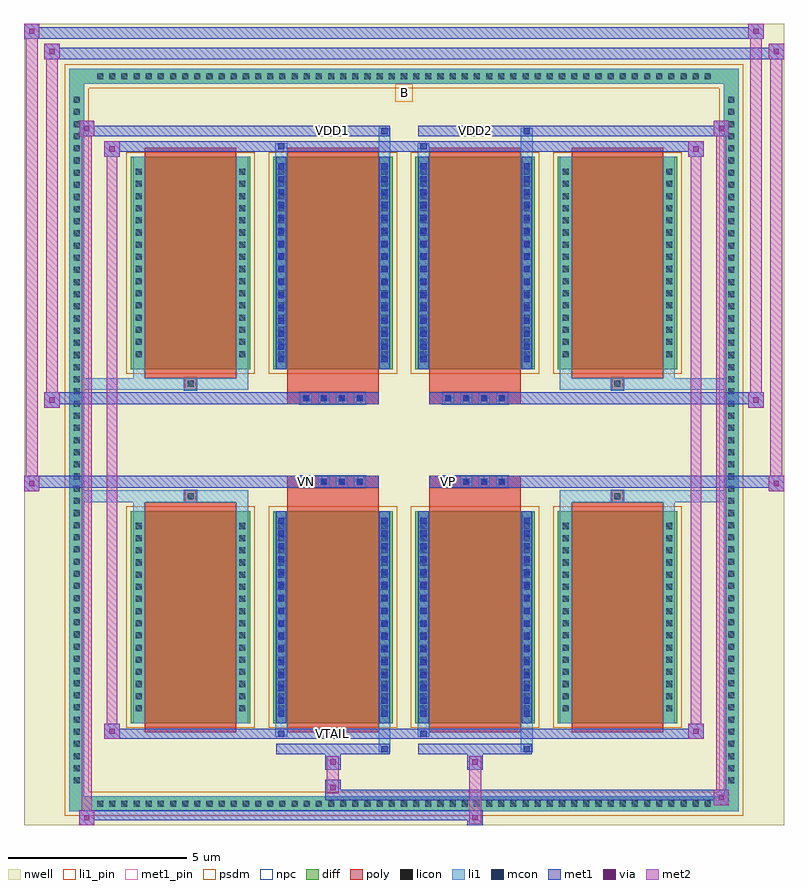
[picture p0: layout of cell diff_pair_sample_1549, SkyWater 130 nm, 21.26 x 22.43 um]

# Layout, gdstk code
import gdstk
lib = gdstk.Library(unit=1e-6, precision=5e-09)
def R(c, l, rs):  # rectangles x0, y0, x1, y1
    for r in rs: c.add(gdstk.rectangle(r[:2], r[2:], *l))
def A(c, l, x, y, w, h, nx, ny, dx, dy):  # array of equal rectangles
    R(c, l, [(x+i*dx, y+j*dy, x+i*dx+w, y+j*dy+h) for i in range(nx) for j in range(ny)])
def P(c, l, *ps):  # polygons
    for p in ps: c.add(gdstk.Polygon(p, *l))
nwell = (64, 20)
diff = (65, 20)
poly = (66, 20)
licon = (66, 44)
li1_pin = (67, 16)
li1 = (67, 20)
mcon = (67, 44)
met1_pin = (68, 16)
met1 = (68, 20)
via = (68, 44)
met2 = (69, 20)
psdm = (94, 20)
npc = (95, 20)

diff_pair_sample_1549 = lib.new_cell('diff_pair_sample_1549')
R(diff_pair_sample_1549, nwell, [(-10.63,-10.78,10.63,11.65), (-7.95,-8.97,-0.01,-0.805), (0.01,-8.97,7.95,-0.805), (-7.95,0.805,-0.01,8.97), (0.01,0.805,7.95,8.97)])
A(diff_pair_sample_1549, diff, -8.705, -10.38, 0.41, 0.41, 51, 2, 0.34, 20.35)
A(diff_pair_sample_1549, diff, -9.36, -9.725, 0.41, 0.41, 1, 57, 0, 0.34)
A(diff_pair_sample_1549, diff, 8.95, -9.725, 0.41, 0.41, 1, 57, 0, 0.34)
A(diff_pair_sample_1549, diff, -7.64, -7.925, 3.34, 5.94, 4, 2, 3.98, 9.91)
R(diff_pair_sample_1549, diff, [(-8.705,-10.38,8.705,-9.97), (-9.36,-9.725,-8.95,9.725), (8.95,-9.725,9.36,9.725), (-8.705,9.97,8.705,10.38)])
P(diff_pair_sample_1549, diff, [(9.36,10.38),(-9.36,10.38),(-9.36,-9.97),(-8.95,-9.97),(-8.95,9.97),(8.95,9.97),(8.95,-9.97),(-8.95,-9.97),(-9.36,-9.97),(-9.36,-10.38),(9.36,-10.38)])
A(diff_pair_sample_1549, poly, -7.25, -8.175, 2.56, 6.44, 4, 2, 3.98, 9.91)
A(diff_pair_sample_1549, poly, -2.905, -1.335, 0.33, 0.33, 4, 2, 0.5, 2.34)
A(diff_pair_sample_1549, poly, 1.075, -1.335, 0.33, 0.33, 4, 2, 0.5, 2.34)
R(diff_pair_sample_1549, poly, [(-6.135,-1.735,-5.805,-1.405), (-6.135,-1.735,-5.805,-1.405), (-3.27,-1.735,-0.71,-1.335), (0.71,-1.735,3.27,-1.335), (5.805,-1.735,6.135,-1.405), (5.805,-1.735,6.135,-1.405), (-3.27,-1.335,-0.71,-1.005), (0.71,-1.335,3.27,-1.005), (-3.27,1.005,-0.71,1.335), (0.71,1.005,3.27,1.335), (-3.27,1.335,-0.71,1.735), (0.71,1.335,3.27,1.735), (-6.135,1.405,-5.805,1.735), (-6.135,1.405,-5.805,1.735), (5.805,1.405,6.135,1.735), (5.805,1.405,6.135,1.735)])
A(diff_pair_sample_1549, licon, -8.585, -10.26, 0.17, 0.17, 51, 2, 0.34, 20.35)
A(diff_pair_sample_1549, licon, -9.24, -9.605, 0.17, 0.17, 1, 57, 0, 0.34)
A(diff_pair_sample_1549, licon, 9.07, -9.605, 0.17, 0.17, 1, 57, 0, 0.34)
A(diff_pair_sample_1549, licon, -7.5, -7.59, 0.17, 0.17, 1, 16, 0, 0.34)
A(diff_pair_sample_1549, licon, -4.61, -7.59, 0.17, 0.17, 1, 16, 0, 0.34)
A(diff_pair_sample_1549, licon, -3.52, -7.59, 0.17, 0.17, 1, 16, 0, 0.34)
A(diff_pair_sample_1549, licon, -0.63, -7.59, 0.17, 0.17, 1, 16, 0, 0.34)
A(diff_pair_sample_1549, licon, 0.46, -7.59, 0.17, 0.17, 1, 16, 0, 0.34)
A(diff_pair_sample_1549, licon, 3.35, -7.59, 0.17, 0.17, 1, 16, 0, 0.34)
A(diff_pair_sample_1549, licon, 4.44, -7.59, 0.17, 0.17, 1, 16, 0, 0.34)
A(diff_pair_sample_1549, licon, 7.33, -7.59, 0.17, 0.17, 1, 16, 0, 0.34)
A(diff_pair_sample_1549, licon, -2.825, -1.255, 0.17, 0.17, 4, 2, 0.5, 2.34)
A(diff_pair_sample_1549, licon, 1.155, -1.255, 0.17, 0.17, 4, 2, 0.5, 2.34)
A(diff_pair_sample_1549, licon, -7.5, 2.32, 0.17, 0.17, 1, 16, 0, 0.34)
A(diff_pair_sample_1549, licon, -4.61, 2.32, 0.17, 0.17, 1, 16, 0, 0.34)
A(diff_pair_sample_1549, licon, -3.52, 2.32, 0.17, 0.17, 1, 16, 0, 0.34)
A(diff_pair_sample_1549, licon, -0.63, 2.32, 0.17, 0.17, 1, 16, 0, 0.34)
A(diff_pair_sample_1549, licon, 0.46, 2.32, 0.17, 0.17, 1, 16, 0, 0.34)
A(diff_pair_sample_1549, licon, 3.35, 2.32, 0.17, 0.17, 1, 16, 0, 0.34)
A(diff_pair_sample_1549, licon, 4.44, 2.32, 0.17, 0.17, 1, 16, 0, 0.34)
A(diff_pair_sample_1549, licon, 7.33, 2.32, 0.17, 0.17, 1, 16, 0, 0.34)
R(diff_pair_sample_1549, licon, [(-6.055,-1.655,-5.885,-1.485), (5.885,-1.655,6.055,-1.485), (-6.055,1.485,-5.885,1.655), (5.885,1.485,6.055,1.655)])
R(diff_pair_sample_1549, li1_pin, [(-0.25,9.47,0.25,9.97)])
A(diff_pair_sample_1549, li1, -8.665, -10.34, 0.33, 0.33, 51, 2, 0.34, 20.35)
A(diff_pair_sample_1549, li1, -9.32, -9.685, 0.33, 0.33, 1, 57, 0, 0.34)
A(diff_pair_sample_1549, li1, 8.99, -9.685, 0.33, 0.33, 1, 57, 0, 0.34)
A(diff_pair_sample_1549, li1, -3.52, -7.74, 0.17, 0.17, 1, 16, 0, 0.36)
A(diff_pair_sample_1549, li1, -0.63, -7.74, 0.17, 0.17, 1, 16, 0, 0.36)
A(diff_pair_sample_1549, li1, 0.46, -7.74, 0.17, 0.17, 1, 16, 0, 0.36)
A(diff_pair_sample_1549, li1, 3.35, -7.74, 0.17, 0.17, 1, 16, 0, 0.36)
A(diff_pair_sample_1549, li1, -7.58, -7.67, 0.33, 0.33, 1, 16, 0, 0.34)
A(diff_pair_sample_1549, li1, -4.69, -7.67, 0.33, 0.33, 1, 16, 0, 0.34)
A(diff_pair_sample_1549, li1, -3.6, -7.67, 0.33, 0.33, 1, 16, 0, 0.34)
A(diff_pair_sample_1549, li1, -0.71, -7.67, 0.33, 0.33, 1, 16, 0, 0.34)
A(diff_pair_sample_1549, li1, 0.38, -7.67, 0.33, 0.33, 1, 16, 0, 0.34)
A(diff_pair_sample_1549, li1, 3.27, -7.67, 0.33, 0.33, 1, 16, 0, 0.34)
A(diff_pair_sample_1549, li1, 4.36, -7.67, 0.33, 0.33, 1, 16, 0, 0.34)
A(diff_pair_sample_1549, li1, 7.25, -7.67, 0.33, 0.33, 1, 16, 0, 0.34)
A(diff_pair_sample_1549, li1, -2.905, -1.335, 0.33, 0.33, 4, 2, 0.5, 2.34)
A(diff_pair_sample_1549, li1, 1.075, -1.335, 0.33, 0.33, 4, 2, 0.5, 2.34)
A(diff_pair_sample_1549, li1, -3.52, 2.17, 0.17, 0.17, 1, 16, 0, 0.36)
A(diff_pair_sample_1549, li1, -0.63, 2.17, 0.17, 0.17, 1, 16, 0, 0.36)
A(diff_pair_sample_1549, li1, 0.46, 2.17, 0.17, 0.17, 1, 16, 0, 0.36)
A(diff_pair_sample_1549, li1, 3.35, 2.17, 0.17, 0.17, 1, 16, 0, 0.36)
A(diff_pair_sample_1549, li1, -7.58, 2.24, 0.33, 0.33, 1, 16, 0, 0.34)
A(diff_pair_sample_1549, li1, -4.69, 2.24, 0.33, 0.33, 1, 16, 0, 0.34)
A(diff_pair_sample_1549, li1, -3.6, 2.24, 0.33, 0.33, 1, 16, 0, 0.34)
A(diff_pair_sample_1549, li1, -0.71, 2.24, 0.33, 0.33, 1, 16, 0, 0.34)
A(diff_pair_sample_1549, li1, 0.38, 2.24, 0.33, 0.33, 1, 16, 0, 0.34)
A(diff_pair_sample_1549, li1, 3.27, 2.24, 0.33, 0.33, 1, 16, 0, 0.34)
A(diff_pair_sample_1549, li1, 4.36, 2.24, 0.33, 0.33, 1, 16, 0, 0.34)
A(diff_pair_sample_1549, li1, 7.25, 2.24, 0.33, 0.33, 1, 16, 0, 0.34)
R(diff_pair_sample_1549, li1, [(-9.36,-10.38,-8.95,-9.97), (-9.36,-10.38,-8.95,-9.97), (-8.95,-10.38,8.95,-9.97), (8.95,-10.38,9.36,-9.97), (8.95,-10.38,9.36,-9.97), (-9.36,-9.97,-8.95,9.97), (8.95,-9.97,9.36,9.97), (-0.71,-8.73,-0.38,-7.925), (-0.63,-8.73,-0.46,-8.56), (3.27,-8.73,3.6,-7.925), (3.35,-8.73,3.52,-8.56), (-3.6,-8.3,-3.27,-7.925), (-3.52,-8.3,-3.35,-8.13), (0.38,-8.3,0.71,-7.925), (0.46,-8.3,0.63,-8.13), (-7.58,-7.925,-7.25,-1.985), (-4.69,-7.925,-4.36,-1.985), (-3.6,-7.925,-3.27,-1.985), (-0.71,-7.925,-0.38,-1.985), (0.38,-7.925,0.71,-1.985), (3.27,-7.925,3.6,-1.985), (4.36,-7.925,4.69,-1.985), (7.25,-7.925,7.58,-1.985), (-3.52,-7.74,-3.35,-2.17), (-0.63,-7.74,-0.46,-2.17), (0.46,-7.74,0.63,-2.17), (3.35,-7.74,3.52,-2.17), (-7.58,-1.985,-7.25,-1.405), (-4.69,-1.985,-4.36,-1.405), (4.36,-1.985,4.69,-1.405), (7.25,-1.985,7.58,-1.405), (-9.36,-1.735,-6.135,-1.405), (-7.58,-1.735,-6.135,-1.405), (-6.135,-1.735,-5.805,-1.405), (-5.805,-1.735,-4.36,-1.405), (4.36,-1.735,5.805,-1.405), (5.805,-1.735,6.135,-1.405), (5.805,-1.735,9.36,-1.405), (6.135,-1.735,7.58,-1.405), (-9.36,1.405,-6.135,1.735), (-7.58,1.405,-6.135,1.735), (-7.58,1.405,-7.25,1.985), (-6.135,1.405,-5.805,1.735), (-5.805,1.405,-4.36,1.735), (-4.69,1.405,-4.36,1.985), (4.36,1.405,5.805,1.735), (4.36,1.405,4.69,1.985), (5.805,1.405,6.135,1.735), (5.805,1.405,9.36,1.735), (6.135,1.405,7.58,1.735), (7.25,1.405,7.58,1.985), (-7.58,1.985,-7.25,7.925), (-4.69,1.985,-4.36,7.925), (-3.6,1.985,-3.27,7.925), (-0.71,1.985,-0.38,7.925), (0.38,1.985,0.71,7.925), (3.27,1.985,3.6,7.925), (4.36,1.985,4.69,7.925), (7.25,1.985,7.58,7.925), (-3.52,2.17,-3.35,7.74), (-0.63,2.17,-0.46,7.74), (0.46,2.17,0.63,7.74), (3.35,2.17,3.52,7.74), (-3.6,7.925,-3.27,8.3), (-0.71,7.925,-0.38,8.73), (0.38,7.925,0.71,8.3), (3.27,7.925,3.6,8.73), (-3.52,8.13,-3.35,8.3), (0.46,8.13,0.63,8.3), (-0.63,8.56,-0.46,8.73), (3.35,8.56,3.52,8.73), (-9.36,9.97,-8.95,10.38), (-9.36,9.97,-8.95,10.38), (-8.95,9.97,8.95,10.38), (8.95,9.97,9.36,10.38), (8.95,9.97,9.36,10.38)])
A(diff_pair_sample_1549, mcon, -3.52, -7.74, 0.17, 0.17, 1, 16, 0, 0.36)
A(diff_pair_sample_1549, mcon, -0.63, -7.74, 0.17, 0.17, 1, 16, 0, 0.36)
A(diff_pair_sample_1549, mcon, 0.46, -7.74, 0.17, 0.17, 1, 16, 0, 0.36)
A(diff_pair_sample_1549, mcon, 3.35, -7.74, 0.17, 0.17, 1, 16, 0, 0.36)
A(diff_pair_sample_1549, mcon, -2.825, -1.255, 0.17, 0.17, 4, 2, 0.5, 2.34)
A(diff_pair_sample_1549, mcon, 1.155, -1.255, 0.17, 0.17, 4, 2, 0.5, 2.34)
A(diff_pair_sample_1549, mcon, -3.52, 2.17, 0.17, 0.17, 1, 16, 0, 0.36)
A(diff_pair_sample_1549, mcon, -0.63, 2.17, 0.17, 0.17, 1, 16, 0, 0.36)
A(diff_pair_sample_1549, mcon, 0.46, 2.17, 0.17, 0.17, 1, 16, 0, 0.36)
A(diff_pair_sample_1549, mcon, 3.35, 2.17, 0.17, 0.17, 1, 16, 0, 0.36)
R(diff_pair_sample_1549, mcon, [(-0.63,-8.73,-0.46,-8.56), (3.35,-8.73,3.52,-8.56), (-3.52,-8.3,-3.35,-8.13), (0.46,-8.3,0.63,-8.13), (-3.52,8.13,-3.35,8.3), (0.46,8.13,0.63,8.3), (-0.63,8.56,-0.46,8.73), (3.35,8.56,3.52,8.73)])
R(diff_pair_sample_1549, met1_pin, [(-2.125,-8.34,-1.855,-8.07), (-2.875,-1.295,-2.605,-1.025), (1.105,-1.295,1.375,-1.025), (-2.125,8.52,-1.855,8.79), (1.855,8.52,2.125,8.79)])
A(diff_pair_sample_1549, met1, -3.58, -7.8, 0.29, 0.29, 1, 16, 0, 0.36)
A(diff_pair_sample_1549, met1, -0.69, -7.8, 0.29, 0.29, 1, 16, 0, 0.36)
A(diff_pair_sample_1549, met1, 0.4, -7.8, 0.29, 0.29, 1, 16, 0, 0.36)
A(diff_pair_sample_1549, met1, 3.29, -7.8, 0.29, 0.29, 1, 16, 0, 0.36)
A(diff_pair_sample_1549, met1, -2.885, -1.315, 0.29, 0.29, 4, 2, 0.5, 2.34)
A(diff_pair_sample_1549, met1, 1.095, -1.315, 0.29, 0.29, 4, 2, 0.5, 2.34)
A(diff_pair_sample_1549, met1, -3.58, 2.11, 0.29, 0.29, 1, 16, 0, 0.36)
A(diff_pair_sample_1549, met1, -0.69, 2.11, 0.29, 0.29, 1, 16, 0, 0.36)
A(diff_pair_sample_1549, met1, 0.4, 2.11, 0.29, 0.29, 1, 16, 0, 0.36)
A(diff_pair_sample_1549, met1, 3.29, 2.11, 0.29, 0.29, 1, 16, 0, 0.36)
R(diff_pair_sample_1549, met1, [(-9.09,-10.78,-8.66,-10.35), (1.775,-10.78,2.205,-10.35), (-9.09,-10.64,2.205,-10.35), (8.66,-10.21,9.09,-9.78), (-2.205,-10.07,9.09,-9.78), (-2.205,-9.93,-1.775,-9.5), (-2.205,-9.22,-1.775,-8.79), (1.775,-9.22,2.205,-8.79), (-3.58,-8.79,-0.4,-8.5), (-0.69,-8.79,-0.4,-8.5), (0.4,-8.79,3.58,-8.5), (3.29,-8.79,3.58,-8.5), (-8.38,-8.36,-7.95,-7.93), (-8.38,-8.36,-3.58,-8.07), (-3.58,-8.36,-3.29,-8.07), (-3.58,-8.36,-0.4,-8.07), (-0.4,-8.36,0.4,-8.07), (0.4,-8.36,0.69,-8.07), (0.4,-8.36,3.58,-8.07), (3.58,-8.36,8.38,-8.07), (7.95,-8.36,8.38,-7.93), (-3.58,-7.925,-3.29,-1.985), (-0.69,-7.925,-0.4,-1.985), (0.4,-7.925,0.69,-1.985), (3.29,-7.925,3.58,-1.985), (-10.63,-1.435,-10.2,-1.005), (10.2,-1.435,10.63,-1.005), (-10.63,-1.335,-0.71,-1.005), (-3.27,-1.335,-0.71,-1.005), (0.71,-1.335,3.27,-1.005), (0.71,-1.335,10.63,-1.005), (-10.06,0.905,-9.63,1.335), (9.63,0.905,10.06,1.335), (-10.06,1.005,-3.27,1.335), (-3.27,1.005,-0.71,1.335), (0.71,1.005,3.27,1.335), (3.27,1.005,10.06,1.335), (-3.58,1.985,-3.29,7.925), (-0.69,1.985,-0.4,7.925), (0.4,1.985,0.69,7.925), (3.29,1.985,3.58,7.925), (-8.38,7.93,-7.95,8.36), (7.95,7.93,8.38,8.36), (-8.38,8.07,-3.58,8.36), (-3.58,8.07,-3.29,8.36), (-3.58,8.07,-0.4,8.36), (-0.4,8.07,0.4,8.36), (0.4,8.07,0.69,8.36), (0.4,8.07,3.58,8.36), (3.58,8.07,8.38,8.36), (-9.09,8.5,-8.66,8.93), (-9.09,8.5,-3.58,8.79), (-3.58,8.5,-0.4,8.79), (-0.69,8.5,-0.4,8.79), (0.4,8.5,3.58,8.79), (3.29,8.5,3.58,8.79), (3.58,8.5,9.09,8.79), (8.66,8.5,9.09,8.93), (-10.06,10.65,-9.63,11.08), (-10.06,10.65,-7.95,10.98), (-7.95,10.65,7.95,10.98), (7.95,10.65,10.63,10.98), (10.2,10.65,10.63,11.08), (-10.63,11.22,-10.2,11.65), (-10.63,11.22,-7.95,11.55), (-7.95,11.22,7.95,11.55), (7.95,11.22,10.06,11.55), (9.63,11.22,10.06,11.65)])
R(diff_pair_sample_1549, via, [(-8.95,-10.64,-8.8,-10.49), (1.915,-10.64,2.065,-10.49), (8.8,-10.07,8.95,-9.92), (-2.065,-9.79,-1.915,-9.64), (-2.065,-9.08,-1.915,-8.93), (1.915,-9.08,2.065,-8.93), (-8.24,-8.22,-8.09,-8.07), (8.09,-8.22,8.24,-8.07), (-10.49,-1.295,-10.34,-1.145), (10.34,-1.295,10.49,-1.145), (-9.92,1.045,-9.77,1.195), (9.77,1.045,9.92,1.195), (-8.24,8.07,-8.09,8.22), (8.09,8.07,8.24,8.22), (-8.95,8.64,-8.8,8.79), (8.8,8.64,8.95,8.79), (-9.92,10.79,-9.77,10.94), (10.34,10.79,10.49,10.94), (-10.49,11.36,-10.34,11.51), (9.77,11.36,9.92,11.51)])
R(diff_pair_sample_1549, met2, [(-9.09,-10.78,-8.66,-10.35), (-9.02,-10.78,-8.73,8.93), (-8.73,-10.78,-8.66,-10.35), (-9.04,-10.73,-8.71,-10.4), (1.825,-10.73,2.155,-10.4), (1.825,-10.4,2.155,-9.17), (8.66,-10.21,9.09,-9.78), (8.73,-10.21,9.02,8.93), (9.02,-10.21,9.09,-9.78), (8.71,-10.16,9.04,-9.83), (-2.155,-9.88,-1.825,-9.55), (-2.155,-9.55,-1.825,-9.17), (-2.155,-9.17,-1.825,-8.84), (1.825,-9.17,2.155,-8.84), (-8.38,-8.36,-7.95,-7.93), (-8.31,-8.36,-8.02,8.36), (-8.02,-8.36,-7.95,-7.93), (7.95,-8.36,8.38,-7.93), (8.02,-8.36,8.31,8.36), (8.31,-8.36,8.38,-7.93), (-8.33,-8.31,-8,-7.98), (8,-8.31,8.33,-7.98), (-10.63,-1.435,-10.2,-1.005), (-10.58,-1.435,-10.25,11.65), (-10.25,-1.435,-10.2,-1.005), (10.2,-1.435,10.63,-1.005), (10.25,-1.435,10.58,11.08), (10.58,-1.435,10.63,-1.005), (-10.58,-1.385,-10.25,-1.055), (10.25,-1.385,10.58,-1.055), (-10.06,0.905,-9.63,1.335), (-10.01,0.905,-9.68,11.08), (-9.68,0.905,-9.63,1.335), (9.63,0.905,10.06,1.335), (9.68,0.905,10.01,11.65), (10.01,0.905,10.06,1.335), (-10.01,0.955,-9.68,1.285), (9.68,0.955,10.01,1.285), (-8.38,7.93,-7.95,8.36), (-8.02,7.93,-7.95,8.36), (7.95,7.93,8.38,8.36), (8.31,7.93,8.38,8.36), (-8.33,7.98,-8,8.31), (8,7.98,8.33,8.31), (-9.09,8.5,-8.66,8.93), (-8.73,8.5,-8.66,8.93), (8.66,8.5,9.09,8.93), (9.02,8.5,9.09,8.93), (-9.04,8.55,-8.71,8.88), (8.71,8.55,9.04,8.88), (-10.06,10.65,-9.63,11.08), (-9.68,10.65,-9.63,11.08), (10.2,10.65,10.63,11.08), (10.58,10.65,10.63,11.08), (-10.01,10.7,-9.68,11.03), (10.25,10.7,10.58,11.03), (-10.63,11.22,-10.2,11.65), (-10.25,11.22,-10.2,11.65), (9.63,11.22,10.06,11.65), (10.01,11.22,10.06,11.65), (-10.58,11.27,-10.25,11.6), (9.68,11.27,10.01,11.6)])
A(diff_pair_sample_1549, psdm, -7.77, -8.055, 3.6, 6.2, 4, 2, 3.98, 9.91)
P(diff_pair_sample_1549, psdm, [(9.49,10.51),(-9.49,10.51),(-9.49,-9.84),(-8.82,-9.84),(-8.82,9.84),(8.82,9.84),(8.82,-9.84),(-8.82,-9.84),(-9.49,-9.84),(-9.49,-10.51),(9.49,-10.51)])
A(diff_pair_sample_1549, npc, -2.925, -1.355, 0.37, 0.37, 4, 2, 0.5, 2.34)
A(diff_pair_sample_1549, npc, 1.055, -1.355, 0.37, 0.37, 4, 2, 0.5, 2.34)
R(diff_pair_sample_1549, npc, [(-6.155,-1.755,-5.785,-1.385), (5.785,-1.755,6.155,-1.385), (-2.925,-1.355,-2.055,-0.985), (-2.925,-1.355,-2.055,-0.985), (-2.425,-1.355,-1.555,-0.985), (-2.425,-1.355,-1.555,-0.985), (-1.925,-1.355,-1.055,-0.985), (-1.925,-1.355,-1.055,-0.985), (1.055,-1.355,1.925,-0.985), (1.055,-1.355,1.925,-0.985), (1.555,-1.355,2.425,-0.985), (1.555,-1.355,2.425,-0.985), (2.055,-1.355,2.925,-0.985), (2.055,-1.355,2.925,-0.985), (-2.925,0.985,-2.055,1.355), (-2.925,0.985,-2.055,1.355), (-2.425,0.985,-1.555,1.355), (-2.425,0.985,-1.555,1.355), (-1.925,0.985,-1.055,1.355), (-1.925,0.985,-1.055,1.355), (1.055,0.985,1.925,1.355), (1.055,0.985,1.925,1.355), (1.555,0.985,2.425,1.355), (1.555,0.985,2.425,1.355), (2.055,0.985,2.925,1.355), (2.055,0.985,2.925,1.355), (-6.155,1.385,-5.785,1.755), (5.785,1.385,6.155,1.755)])
diff_pair_sample_1549.add(gdstk.Label('VTAIL', (-1.99,-8.205), layer=68, texttype=5))
diff_pair_sample_1549.add(gdstk.Label('VN', (-2.74,-1.16), layer=68, texttype=5))
diff_pair_sample_1549.add(gdstk.Label('VP', (1.24,-1.16), layer=68, texttype=5))
diff_pair_sample_1549.add(gdstk.Label('B', (0,9.72), layer=67, texttype=5))
diff_pair_sample_1549.add(gdstk.Label('VDD2', (1.99,8.655), layer=68, texttype=5))
diff_pair_sample_1549.add(gdstk.Label('VDD1', (-1.99,8.655), layer=68, texttype=5))

lib.write_gds('diff_pair_sample_1549.gds')
